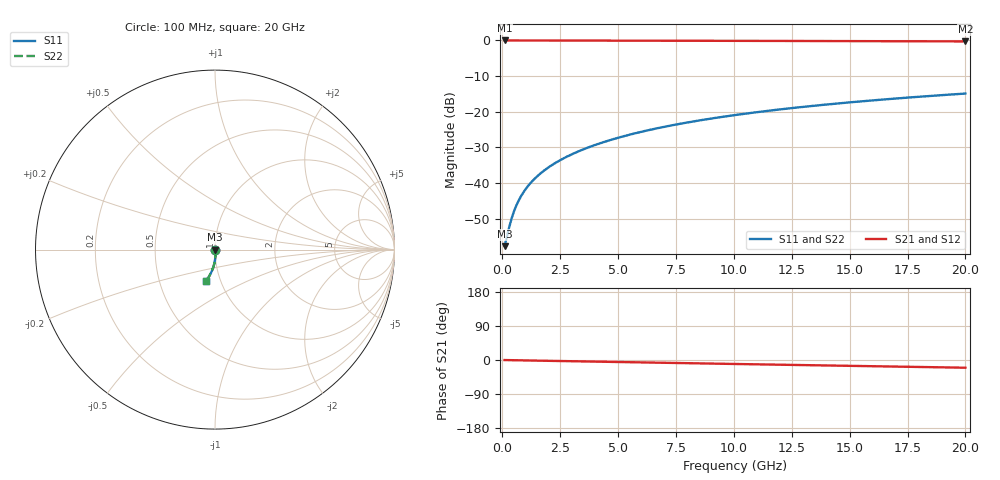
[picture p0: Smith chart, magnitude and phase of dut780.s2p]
! Touchstone file exported from HFSS 2026.1.0
!  File:  C:/ffzhzh/LocalFiles/Ansys_Project_Files/temp_train_TMRDL_780_1783155760_22436.aedt
!  Generated:  05:03:47 PM Jul  4, 2026
!  Design:  TMRDL
!  Project:  temp_train_TMRDL_780_1783155760_22436
! Variables:
!  h_bsmrdl = 2um
!  h_ox = 20um
!  h_rdl = 5um
!  h_sub = 80um
!  h_tmrdl = 4.44um
!  h_tsv = 80um
!  h_via = 3um
!  l_bsmrdl = 300um
!  l_sub = 697.33um
!  l_tmrdl = 297.33um
!  m_sub = 200um
!  pitch = 25.67um
!  r_tsv = 6um
!  s_tmrdl = 10um
!  w_bsmrdl = 18um
!  w_sub = 500um
!  w_tmrdl = 24.45um
!  x_tsv_center1 = 309.555um
!  x_tsv_center2 = 627.555um
!  x_tsv_center3 = 949.335um
!  x_tsv_center4 = 1267.335um
!  x_tsv_center5 = 1589.115um
!  x_tsv_center6 = 1907.115um
# GHz S MA R 50.000000
! Terminal data exported
! Port[1] = TM_RDL1_1_T1
! Port[2] = TM_RDL1_1_T2
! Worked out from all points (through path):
!   200 points, 100 MHz to 20 GHz, reference 50 ohm
!   highest |S21| = -0.01 dB at 100 MHz (marker M1); lowest = -0.3 dB at 20 GHz (marker M2)
!   group delay of S21, straight-line fit = 2.81 ps
!   lowest |S11| = -57.7 dB at 100 MHz (marker M3), VSWR 1.00, Z = 50.1 - j0.0427 ohm
!   |S11| at or under -10 dB: start of sweep to end of sweep
!   |S22| runs from -57.7 to -14.9 dB; largest |S21 - S12| = 2.6e-15
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0.1  0.001307 -19.0  0.9988 -0.1  0.9988 -0.1  0.001307 -19.0
! Gamma 0 0 0 0
! Port Impedance 50 0 50 0
0.3  0.002423 -43.6  0.9982 -0.4  0.9982 -0.4  0.002423 -43.6
0.4  0.003175 -51.1  0.998 -0.5  0.998 -0.5  0.003175 -51.1
0.5  0.003976 -56.7  0.9978 -0.6  0.9978 -0.6  0.003976 -56.7
0.6  0.0048 -61.0  0.9976 -0.7  0.9976 -0.7  0.0048 -61.0
0.8  0.006477 -67.2  0.9974 -0.9  0.9974 -0.9  0.006477 -67.2
1.1  0.009011 -72.9  0.9971 -1.2  0.9971 -1.2  0.009011 -72.9
1.3  0.01071 -75.3  0.997 -1.4  0.997 -1.4  0.0107 -75.3
1.5  0.0124 -77.2  0.9968 -1.7  0.9968 -1.7  0.0124 -77.2
1.8  0.01496 -79.3  0.9966 -2.0  0.9966 -2.0  0.01496 -79.3
2.1  0.01752 -80.8  0.9964 -2.3  0.9964 -2.3  0.01752 -80.8
2.7  0.02271 -83.0  0.9958 -2.9  0.9958 -2.9  0.02271 -83.0
3.5  0.02972 -84.9  0.995 -3.8  0.995 -3.8  0.02972 -84.9
4.2  0.03596 -86.3  0.9942 -4.5  0.9942 -4.5  0.03596 -86.3
5  0.04319 -87.6  0.9932 -5.3  0.9932 -5.3  0.04319 -87.6
5.9  0.05142 -88.9  0.9921 -6.3  0.9921 -6.3  0.05142 -88.9
6.8  0.05972 -90.1  0.9909 -7.2  0.9909 -7.2  0.05972 -90.2
8.3  0.07364 -92.1  0.9888 -8.7  0.9888 -8.7  0.07363 -92.2
10.1  0.09037 -94.4  0.9862 -10.5  0.9862 -10.5  0.09036 -94.4
13.4  0.1208 -98.4  0.981 -13.9  0.981 -13.9  0.1208 -98.4
16.7  0.1508 -102.1  0.9751 -17.1  0.9751 -17.1  0.1508 -102.2
20  0.18 -105.7  0.9685 -20.4  0.9685 -20.4  0.18 -105.7
